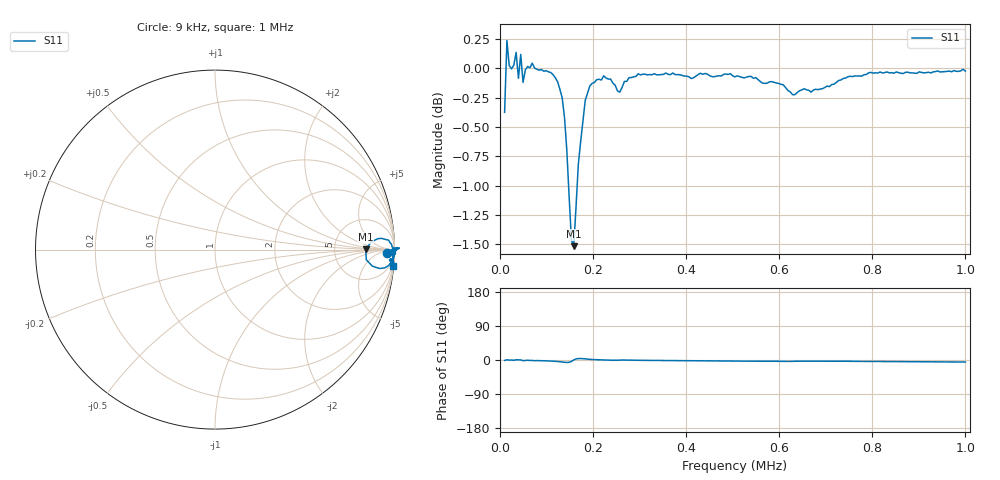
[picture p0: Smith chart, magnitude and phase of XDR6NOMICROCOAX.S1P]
!Agilent Technologies,E5071C,MY46100305,A.07.02
!Date: Fri Jan 01 00:25:02 1988
!Data & Calibration Information:
!Freq	S11:SOLT1(ON)
# Hz S MA R 50
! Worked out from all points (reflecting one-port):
!   201 points, 9 kHz to 1 MHz, reference 50 ohm
!   lowest |S11| = -1.5 dB at 157.7 kHz (marker M1), VSWR 11.47, Z = 574 + j10.6 ohm
!   phase of S11 starts at -1 deg and turns -4 deg over the sweep
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9000  0.9577 -1.2
13955  1.028 0.5
18910  1.003 -0.3
28820  1.003 -0.7
33775  1.016 0.6
38730  0.9902 0.4
43685  1.014 0.2
48640  0.9863 -1.7
58550  1.002 -0.6
93235  0.9972 -2.0
132875  0.9713 -5.2
142785  0.9227 -6.6
147740  0.8818 -6.0
152695  0.8449 -3.8
157650  0.8397 0.2
162605  0.8726 2.8
167560  0.9101 3.9
182425  0.969 3.1
192335  0.9828 1.9
241885  0.9855 -0.7
256750  0.9769 -0.3
296390  0.9946 -0.8
380625  0.9938 -1.8
504500  0.9917 -2.9
628375  0.9744 -3.5
752250  0.9922 -3.4
876125  0.9962 -4.5
1000000  0.9972 -5.4
